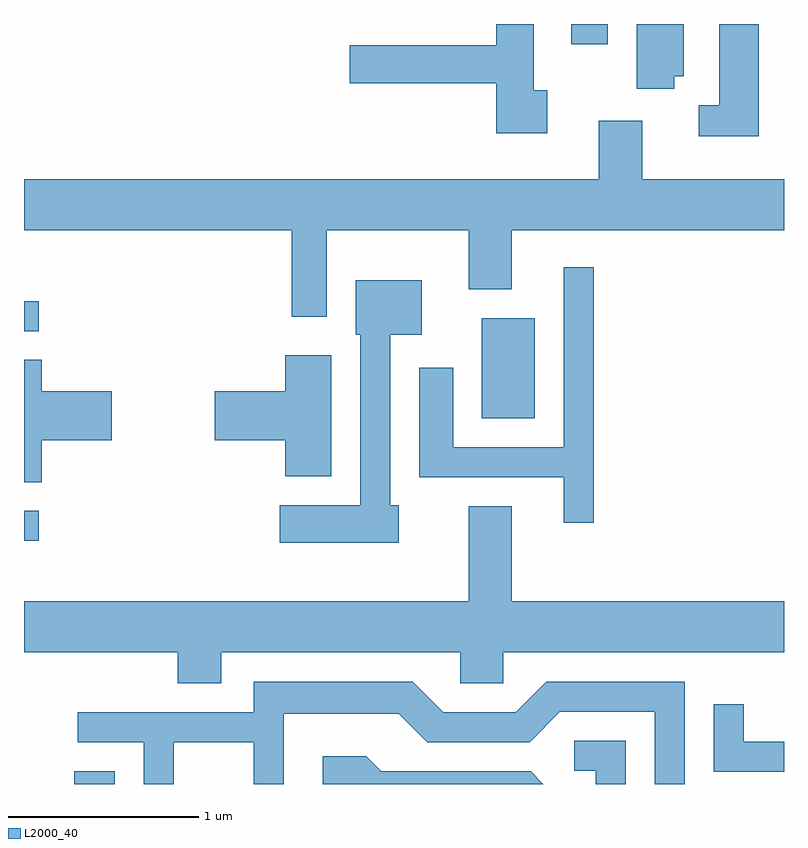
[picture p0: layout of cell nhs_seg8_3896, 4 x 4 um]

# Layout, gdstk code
import gdstk
lib = gdstk.Library(unit=1e-6, precision=1e-09)
def R(c, l, rs):  # rectangles x0, y0, x1, y1
    for r in rs: c.add(gdstk.rectangle(r[:2], r[2:], *l))
def P(c, l, *ps):  # polygons
    for p in ps: c.add(gdstk.Polygon(p, *l))
L2000_40 = (2000, 40)

nhs_seg8_3896 = lib.new_cell('nhs_seg8_3896')
R(nhs_seg8_3896, L2000_40, [(301.876,1882.342,302.089,1882.409), (301.611,1883.621,301.688,1883.779), (304.021,1884.266,304.299,1884.794), (301.611,1884.726,301.688,1884.884), (304.491,1886.236,304.684,1886.342)])
P(nhs_seg8_3896, L2000_40, [(305.034,1886.066),(305.084,1886.066),(305.084,1886.342),(304.836,1886.342),(304.836,1886.001),(305.034,1886.001)],
  [(305.479,1886.342),(305.271,1886.342),(305.271,1885.914),(305.163,1885.914),(305.163,1885.751),(305.479,1885.751)],
  [(304.364,1885.994),(304.294,1885.994),(304.294,1886.342),(304.096,1886.342),(304.096,1886.229),(303.326,1886.229),(303.326,1886.031),(304.096,1886.031),(304.096,1885.766),(304.364,1885.766)],
  [(303.204,1885.256),(303.951,1885.256),(303.951,1884.946),(304.179,1884.946),(304.179,1885.256),(305.611,1885.256),(305.611,1885.524),(304.864,1885.524),(304.864,1885.834),(304.636,1885.834),(304.636,1885.524),(301.611,1885.524),(301.611,1885.256),(303.021,1885.256),(303.021,1884.801),(303.204,1884.801)],
  [(304.609,1885.063),(304.451,1885.063),(304.451,1884.114),(303.869,1884.114),(303.869,1884.534),(303.691,1884.534),(303.691,1883.956),(304.451,1883.956),(304.451,1883.718),(304.609,1883.718)],
  [(303.584,1883.809),(303.539,1883.809),(303.539,1884.706),(303.704,1884.706),(303.704,1884.994),(303.356,1884.994),(303.356,1884.706),(303.381,1884.706),(303.381,1883.809),(302.956,1883.809),(302.956,1883.611),(303.584,1883.611)],
  [(303.229,1884.599),(302.986,1884.599),(302.986,1884.409),(302.616,1884.409),(302.616,1884.151),(302.986,1884.151),(302.986,1883.961),(303.229,1883.961)],
  [(301.704,1884.151),(302.074,1884.151),(302.074,1884.409),(301.704,1884.409),(301.704,1884.574),(301.611,1884.574),(301.611,1883.931),(301.704,1883.931)],
  [(302.649,1883.036),(303.906,1883.036),(303.906,1882.871),(304.134,1882.871),(304.134,1883.036),(305.611,1883.036),(305.611,1883.304),(304.179,1883.304),(304.179,1883.804),(303.951,1883.804),(303.951,1883.304),(301.611,1883.304),(301.611,1883.036),(302.421,1883.036),(302.421,1882.871),(302.649,1882.871)],
  [(302.399,1882.561),(302.821,1882.561),(302.821,1882.342),(302.979,1882.342),(302.979,1882.711),(303.584,1882.711),(303.734,1882.561),(304.272,1882.561),(304.432,1882.721),(304.931,1882.721),(304.931,1882.342),(305.089,1882.342),(305.089,1882.879),(304.359,1882.879),(304.199,1882.719),(303.817,1882.719),(303.657,1882.879),(302.821,1882.879),(302.821,1882.719),(301.893,1882.719),(301.893,1882.561),(302.241,1882.561),(302.241,1882.342),(302.399,1882.342)],
  [(305.611,1882.564),(305.399,1882.564),(305.399,1882.763),(305.241,1882.763),(305.241,1882.406),(305.611,1882.406)],
  [(304.779,1882.569),(304.508,1882.569),(304.508,1882.411),(304.621,1882.411),(304.621,1882.342),(304.779,1882.342)],
  [(304.277,1882.409),(303.492,1882.409),(303.412,1882.489),(303.183,1882.489),(303.183,1882.342),(304.344,1882.342)])

lib.write_gds('nhs_seg8_3896.gds')
